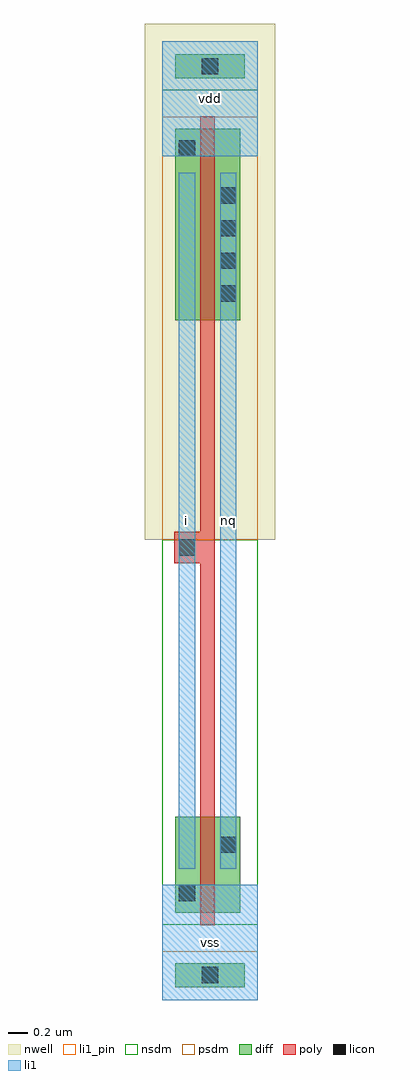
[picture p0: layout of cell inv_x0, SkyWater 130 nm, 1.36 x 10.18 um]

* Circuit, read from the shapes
.subckt inv_x0 i nq vdd vss
XM1 nq i vss VSUBS sky130_fd_pr__nfet_01v8 w=1 l=0.15
XM2 nq i vdd n1 sky130_fd_pr__pfet_01v8 w=2 l=0.15
.ends

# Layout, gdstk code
import gdstk
lib = gdstk.Library(unit=1e-6, precision=1e-09)
def R(c, l, rs):  # rectangles x0, y0, x1, y1
    for r in rs: c.add(gdstk.rectangle(r[:2], r[2:], *l))
def A(c, l, x, y, w, h, nx, ny, dx, dy):  # array of equal rectangles
    R(c, l, [(x+i*dx, y+j*dy, x+i*dx+w, y+j*dy+h) for i in range(nx) for j in range(ny)])
def P(c, l, *ps):  # polygons
    for p in ps: c.add(gdstk.Polygon(p, *l))
nwell = (64, 20)
diff = (65, 20)
poly = (66, 20)
licon = (66, 44)
li1_pin = (67, 16)
li1 = (67, 20)
nsdm = (93, 44)
psdm = (94, 20)

inv_x0 = lib.new_cell('inv_x0')
R(inv_x0, nwell, [(-0.18,4.8,1.18,10.18)])
R(inv_x0, diff, [(0.135,0.135,0.865,0.385), (0.135,0.91,0.815,1.91), (0.135,7.09,0.815,9.09), (0.135,9.615,0.865,9.865)])
P(inv_x0, poly, [(0.4,0.78),(0.4,4.555),(0.125,4.555),(0.125,4.885),(0.4,4.885),(0.4,9.22),(0.55,9.22),(0.55,0.78)])
A(inv_x0, licon, 0.605, 7.285, 0.17, 0.17, 1, 4, 0, 0.34)
R(inv_x0, licon, [(0.415,0.175,0.585,0.345), (0.175,1.03,0.345,1.2), (0.605,1.535,0.775,1.705), (0.175,4.635,0.345,4.805), (0.175,8.8,0.345,8.97), (0.415,9.655,0.585,9.825)])
R(inv_x0, li1_pin, [(0,0,1,1.2), (0.175,1.37,0.345,8.63), (0.605,1.37,0.775,8.63), (0,8.8,1,10)])
R(inv_x0, li1, [(0,0,1,1.2), (0.175,1.37,0.345,8.63), (0.605,1.37,0.775,8.63), (0,8.8,1,10)])
R(inv_x0, nsdm, [(0,0.785,1,4.8), (0,9.49,1,10)])
R(inv_x0, psdm, [(0,0,1,0.51), (0,4.8,1,9.215)])
inv_x0.add(gdstk.Label('vss', (0.5,0.6), layer=67, texttype=16))
inv_x0.add(gdstk.Label('vdd', (0.5,9.4), layer=67, texttype=16))
inv_x0.add(gdstk.Label('nq', (0.69,5), layer=67, texttype=16))
inv_x0.add(gdstk.Label('i', (0.26,5), layer=67, texttype=16))

lib.write_gds('inv_x0.gds')
